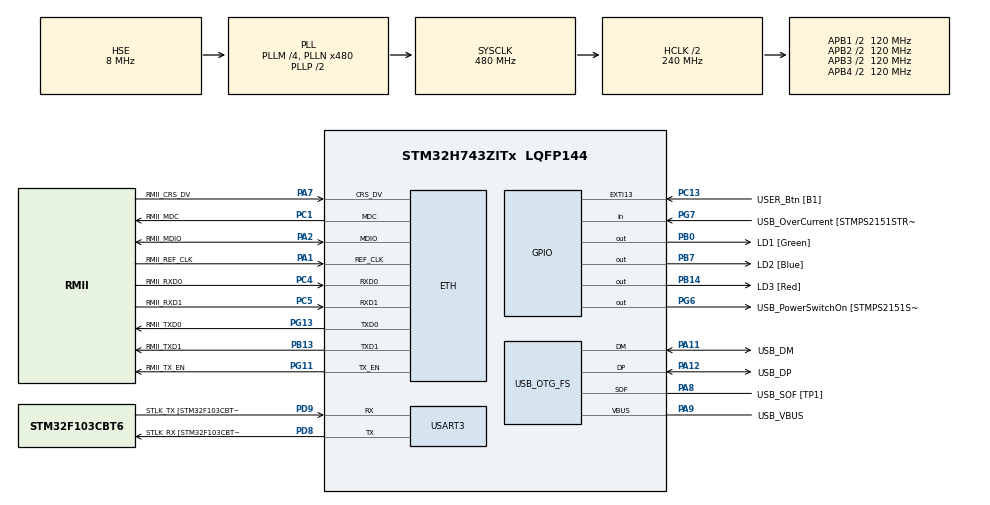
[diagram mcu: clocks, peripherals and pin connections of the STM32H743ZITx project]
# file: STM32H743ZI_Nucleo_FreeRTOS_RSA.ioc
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CORTEX_M7.AccessPermission-Cortex_Memory_Protection_Unit_Region0_Settings=MPU_REGION_FULL_ACCESS
CORTEX_M7.AccessPermission-Cortex_Memory_Protection_Unit_Region1_Settings=MPU_REGION_FULL_ACCESS
CORTEX_M7.BaseAddress-Cortex_Memory_Protection_Unit_Region0_Settings=0x30040000
CORTEX_M7.BaseAddress-Cortex_Memory_Protection_Unit_Region1_Settings=0x30040000
CORTEX_M7.CPU_DCache=Enabled
CORTEX_M7.CPU_ICache=Enabled
CORTEX_M7.DisableExec-Cortex_Memory_Protection_Unit_Region0_Settings=MPU_INSTRUCTION_ACCESS_DISABLE
CORTEX_M7.DisableExec-Cortex_Memory_Protection_Unit_Region1_Settings=MPU_INSTRUCTION_ACCESS_DISABLE
CORTEX_M7.Enable-Cortex_Memory_Protection_Unit_Region0_Settings=MPU_REGION_ENABLE
CORTEX_M7.Enable-Cortex_Memory_Protection_Unit_Region1_Settings=MPU_REGION_ENABLE
CORTEX_M7.IsBufferable-Cortex_Memory_Protection_Unit_Region1_Settings=MPU_ACCESS_BUFFERABLE
CORTEX_M7.IsShareable-Cortex_Memory_Protection_Unit_Region0_Settings=MPU_ACCESS_NOT_SHAREABLE
CORTEX_M7.IsShareable-Cortex_Memory_Protection_Unit_Region1_Settings=MPU_ACCESS_SHAREABLE
CORTEX_M7.MPU_Control=MPU_PRIVILEGED_DEFAULT
CORTEX_M7.Size-Cortex_Memory_Protection_Unit_Region0_Settings=MPU_REGION_SIZE_32KB
CORTEX_M7.Size-Cortex_Memory_Protection_Unit_Region1_Settings=MPU_REGION_SIZE_256B
CORTEX_M7.TypeExtField-Cortex_Memory_Protection_Unit_Region0_Settings=MPU_TEX_LEVEL1
CORTEX_M7.TypeExtField-Cortex_Memory_Protection_Unit_Region1_Settings=MPU_TEX_LEVEL0
Dma.Request0=USART3_RX
Dma.Request1=USART3_TX
Dma.USART3_RX.0.Direction=DMA_PERIPH_TO_MEMORY
Dma.USART3_RX.0.EventEnable=DISABLE
Dma.USART3_RX.0.FIFOMode=DMA_FIFOMODE_DISABLE
Dma.USART3_RX.0.Instance=DMA1_Stream0
Dma.USART3_RX.0.MemDataAlignment=DMA_MDATAALIGN_BYTE
Dma.USART3_RX.0.MemInc=DMA_MINC_ENABLE
Dma.USART3_RX.0.Mode=DMA_CIRCULAR
Dma.USART3_RX.0.PeriphDataAlignment=DMA_PDATAALIGN_BYTE
Dma.USART3_RX.0.PeriphInc=DMA_PINC_DISABLE
Dma.USART3_RX.0.Polarity=HAL_DMAMUX_REQ_GEN_RISING
Dma.USART3_RX.0.Priority=DMA_PRIORITY_LOW
Dma.USART3_RX.0.RequestNumber=1
Dma.USART3_RX.0.SignalID=NONE
Dma.USART3_RX.0.SyncEnable=DISABLE
Dma.USART3_RX.0.SyncPolarity=HAL_DMAMUX_SYNC_NO_EVENT
Dma.USART3_RX.0.SyncRequestNumber=1
Dma.USART3_RX.0.SyncSignalID=NONE
Dma.USART3_TX.1.Direction=DMA_MEMORY_TO_PERIPH
Dma.USART3_TX.1.EventEnable=DISABLE
Dma.USART3_TX.1.FIFOMode=DMA_FIFOMODE_DISABLE
Dma.USART3_TX.1.Instance=DMA1_Stream1
Dma.USART3_TX.1.MemDataAlignment=DMA_MDATAALIGN_BYTE
Dma.USART3_TX.1.MemInc=DMA_MINC_ENABLE
Dma.USART3_TX.1.Mode=DMA_NORMAL
Dma.USART3_TX.1.PeriphDataAlignment=DMA_PDATAALIGN_BYTE
Dma.USART3_TX.1.PeriphInc=DMA_PINC_DISABLE
Dma.USART3_TX.1.Polarity=HAL_DMAMUX_REQ_GEN_RISING
Dma.USART3_TX.1.Priority=DMA_PRIORITY_LOW
Dma.USART3_TX.1.RequestNumber=1
Dma.USART3_TX.1.SignalID=NONE
Dma.USART3_TX.1.SyncEnable=DISABLE
Dma.USART3_TX.1.SyncPolarity=HAL_DMAMUX_SYNC_NO_EVENT
Dma.USART3_TX.1.SyncRequestNumber=1
Dma.USART3_TX.1.SyncSignalID=NONE
ETH.MediaInterface=HAL_ETH_RMII_MODE
FREERTOS.Tasks01=defaultTask,24,512,StartDefaultTask,Default,NULL,Dynamic,NULL,NULL;myTask02,8,512,StartTask02,Default,NULL,Dynamic,NULL,NULL;myTask03,8,512,StartTask03,Default,NULL,Dynamic,NULL,NULL
FREERTOS.configUSE_NEWLIB_REENTRANT=1
Mcu.Family=STM32H7
Mcu.Name=STM32H743ZITx
Mcu.Package=LQFP144
NVIC.DMA1_Stream0_IRQn=true\:5\:0\:false\:false\:true\:true\:false\:true
NVIC.DMA1_Stream1_IRQn=true\:5\:0\:false\:false\:true\:true\:false\:true
NVIC.ETH_IRQn=true\:5\:0\:false\:false\:true\:true\:true\:true
NVIC.PriorityGroup=NVIC_PRIORITYGROUP_4
NVIC.TIM6_DAC_IRQn=true\:15\:0\:false\:false\:true\:false\:false\:true
NVIC.TimeBase=TIM6_DAC_IRQn
NVIC.TimeBaseIP=TIM6
NVIC.USART3_IRQn=true\:5\:0\:false\:false\:true\:true\:true\:true
PA1.GPIO_Label=RMII_REF_CLK
PA1.GPIO_Speed=GPIO_SPEED_FREQ_VERY_HIGH
PA1.Mode=RMII
PA1.Signal=ETH_REF_CLK
PA10.GPIO_Label=USB_ID
PA10.Signal=USB_OTG_FS_ID
PA11.GPIO_Label=USB_DM
PA11.Mode=Device_Only
PA11.Signal=USB_OTG_FS_DM
PA12.GPIO_Label=USB_DP
PA12.Mode=Device_Only
PA12.Signal=USB_OTG_FS_DP
PA2.GPIO_Label=RMII_MDIO
PA2.GPIO_Speed=GPIO_SPEED_FREQ_VERY_HIGH
PA2.Mode=RMII
PA2.Signal=ETH_MDIO
PA7.GPIO_Label=RMII_CRS_DV
PA7.GPIO_Speed=GPIO_SPEED_FREQ_VERY_HIGH
PA7.Mode=RMII
PA7.Signal=ETH_CRS_DV
PA8.GPIO_Label=USB_SOF [TP1]
PA8.Mode=Activate_SOF_FS
PA8.Signal=USB_OTG_FS_SOF
PA9.GPIO_Label=USB_VBUS
PA9.Mode=Activate_VBUS
PA9.Signal=USB_OTG_FS_VBUS
PB0.GPIO_Label=LD1 [Green]
PB0.Signal=GPIO_Output
PB13.GPIO_Label=RMII_TXD1
PB13.GPIO_Speed=GPIO_SPEED_FREQ_VERY_HIGH
PB13.Mode=RMII
PB13.Signal=ETH_TXD1
PB14.GPIO_Label=LD3 [Red]
PB14.Signal=GPIO_Output
PB7.GPIO_Label=LD2 [Blue]
PB7.Signal=GPIO_Output
PC1.GPIO_Label=RMII_MDC
PC1.GPIO_Speed=GPIO_SPEED_FREQ_VERY_HIGH
PC1.Mode=RMII
PC1.Signal=ETH_MDC
PC13.GPIO_Label=USER_Btn [B1]
PC13.Signal=GPXTI13
PC14-OSC32_IN\ (OSC32_IN).Mode=LSE-External-Oscillator
PC14-OSC32_IN\ (OSC32_IN).Signal=RCC_OSC32_IN
PC15-OSC32_OUT\ (OSC32_OUT).Mode=LSE-External-Oscillator
PC15-OSC32_OUT\ (OSC32_OUT).Signal=RCC_OSC32_OUT
PC4.GPIO_Label=RMII_RXD0
PC4.GPIO_Speed=GPIO_SPEED_FREQ_VERY_HIGH
PC4.Mode=RMII
PC4.Signal=ETH_RXD0
PC5.GPIO_Label=RMII_RXD1
PC5.GPIO_Speed=GPIO_SPEED_FREQ_VERY_HIGH
PC5.Mode=RMII
PC5.Signal=ETH_RXD1
PD8.GPIO_Label=STLK_RX [STM32F103CBT6_PA3]
PD8.Mode=Asynchronous
PD8.Signal=USART3_TX
PD9.GPIO_Label=STLK_TX [STM32F103CBT6_PA2]
PD9.Mode=Asynchronous
PD9.Signal=USART3_RX
PG11.GPIO_Label=RMII_TX_EN
PG11.GPIO_Speed=GPIO_SPEED_FREQ_VERY_HIGH
PG11.Mode=RMII
PG11.Signal=ETH_TX_EN
PG13.GPIO_Label=RMII_TXD0
PG13.GPIO_Speed=GPIO_SPEED_FREQ_VERY_HIGH
PG13.Mode=RMII
PG13.Signal=ETH_TXD0
PG6.GPIO_Label=USB_PowerSwitchOn [STMPS2151STR_EN]
PG6.Signal=GPIO_Output
PG7.GPIO_Label=USB_OverCurrent [STMPS2151STR_FAULT]
PG7.Signal=GPIO_Input
PH0-OSC_IN\ (PH0).GPIO_Label=MCO
PH0-OSC_IN\ (PH0).Mode=HSE-External-Clock-Source
PH0-OSC_IN\ (PH0).Signal=RCC_OSC_IN
PH1-OSC_OUT\ (PH1).Signal=RCC_OSC_OUT
ProjectManager.HeapSize=0x200
ProjectManager.StackSize=0x400
ProjectManager.TargetToolchain=STM32CubeIDE
RCC.48MHZClocksFreq_Value=24000000
RCC.ADCFreq_Value=120000000
RCC.AHBFreq_Value=216000000
RCC.APB1CLKDivider=RCC_HCLK_DIV4
RCC.APB1Freq_Value=120000000
RCC.APB1TimFreq_Value=108000000
RCC.APB2CLKDivider=RCC_HCLK_DIV2
RCC.APB2Freq_Value=120000000
RCC.APB2TimFreq_Value=216000000
RCC.APB3Freq_Value=120000000
RCC.APB4Freq_Value=120000000
RCC.CortexFreq_Value=480000000
RCC.D1PPRE=RCC_APB3_DIV2
RCC.D2PPRE1=RCC_APB1_DIV2
RCC.D2PPRE2=RCC_APB2_DIV2
RCC.D3PPRE=RCC_APB4_DIV2
RCC.DIVM1=4
RCC.DIVM2=4
RCC.DIVM3=4
RCC.DIVN1=480
RCC.DIVN2=120
RCC.DIVN3=120
RCC.DIVQ1=4
RCC.HCLKFreq_Value=240000000
RCC.HPRE=RCC_HCLK_DIV2
RCC.HSE_VALUE=8000000
RCC.HSI_VALUE=64000000
RCC.PLLM=25
RCC.PLLMUL=RCC_PLL_MUL9
RCC.PLLN=432
RCC.PLLQ=9
RCC.PLLSourceVirtual=RCC_PLLSOURCE_HSE
RCC.PRESCALERUSB=RCC_USBCLKSOURCE_PLL_DIV1_5
RCC.PWR_Regulator_Voltage_Scale=PWR_REGULATOR_VOLTAGE_SCALE0
RCC.SYSCLKFreq_VALUE=480000000
RCC.SYSCLKSource=RCC_SYSCLKSOURCE_PLLCLK
RCC.SYSCLKSourceVirtual=RCC_SYSCLKSOURCE_PLLCLK
RCC.USBCLockSelection=RCC_USBCLKSOURCE_HSI48
RCC.USBFreq_Value=48000000
RCC.VCOOutputFreq_Value=432000000
USART3.VirtualMode-Asynchronous=VM_ASYNC
USB_OTG_FS.VirtualMode=Device_Only
VP_FREERTOS_VS_CMSIS_V2.Mode=CMSIS_V2
VP_RNG_VS_RNG.Mode=RNG_Activate
VP_SYS_VS_tim6.Mode=TIM6
board=NUCLEO-H743ZI

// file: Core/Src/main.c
/* USER CODE BEGIN Header */
/**
  ******************************************************************************
  * @file           : main.c
  * @brief          : Main program body
  ******************************************************************************
  * @attention
  *
  * Copyright (c) 2022 STMicroelectronics.
  * All rights reserved.
  *
  * This software is licensed under terms that can be found in the LICENSE file
  * in the root directory of this software component.
  * If no LICENSE file comes with this software, it is provided AS-IS.
  *
  ******************************************************************************
  */
/* USER CODE END Header */
#include "main.h"
#include "cmsis_os.h"
#include "dma.h"
#include "eth.h"
#include "rng.h"
#include "usart.h"
#include "usb_otg.h"
#include "gpio.h"

/* USER CODE BEGIN Includes */
#include "usart_func.h"

/* USER CODE END Includes */

void SystemClock_Config(void);
static void MPU_Config(void);
void MX_FREERTOS_Init(void);

int main(void)
{

  /* MPU Configuration--------------------------------------------------------*/
  MPU_Config();

  /* Enable I-Cache---------------------------------------------------------*/
  SCB_EnableICache();

  /* Enable D-Cache---------------------------------------------------------*/
  SCB_EnableDCache();

  /* MCU Configuration--------------------------------------------------------*/

  /* Reset of all peripherals, Initializes the Flash interface and the Systick. */
  HAL_Init();

  /* Configure the system clock */
  SystemClock_Config();

  /* Initialize all configured peripherals */
  MX_GPIO_Init();
  MX_DMA_Init();
  MX_ETH_Init();
  MX_USART3_UART_Init();
  MX_USB_OTG_FS_PCD_Init();
  MX_RNG_Init();
  /* USER CODE BEGIN 2 */
  HAL_USART3_ENABLE_IT_IDLE_Receive_DMA();

  /* USER CODE END 2 */

  /* Init scheduler */
  osKernelInitialize();  /* Call init function for freertos objects (in freertos.c) */
  MX_FREERTOS_Init();
  /* Start scheduler */
  osKernelStart();

  /* We should never get here as control is now taken by the scheduler */
  /* Infinite loop */
  while (1)
  {

  }
}

void SystemClock_Config(void)
{
  RCC_OscInitTypeDef RCC_OscInitStruct = {0};
  RCC_ClkInitTypeDef RCC_ClkInitStruct = {0};

  /** Supply configuration update enable
  */
  HAL_PWREx_ConfigSupply(PWR_LDO_SUPPLY);
  /** Configure the main internal regulator output voltage
  */
  __HAL_PWR_VOLTAGESCALING_CONFIG(PWR_REGULATOR_VOLTAGE_SCALE0);

  while(!__HAL_PWR_GET_FLAG(PWR_FLAG_VOSRDY)) {}
  /** Initializes the RCC Oscillators according to the specified parameters
  * in the RCC_OscInitTypeDef structure.
  */
  RCC_OscInitStruct.OscillatorType = RCC_OSCILLATORTYPE_HSI48|RCC_OSCILLATORTYPE_HSE;
  RCC_OscInitStruct.HSEState = RCC_HSE_BYPASS;
  RCC_OscInitStruct.HSI48State = RCC_HSI48_ON;
  RCC_OscInitStruct.PLL.PLLState = RCC_PLL_ON;
  RCC_OscInitStruct.PLL.PLLSource = RCC_PLLSOURCE_HSE;
  RCC_OscInitStruct.PLL.PLLM = 4;
  RCC_OscInitStruct.PLL.PLLN = 480;
  RCC_OscInitStruct.PLL.PLLP = 2;
  RCC_OscInitStruct.PLL.PLLQ = 4;
  RCC_OscInitStruct.PLL.PLLR = 2;
  RCC_OscInitStruct.PLL.PLLRGE = RCC_PLL1VCIRANGE_1;
  RCC_OscInitStruct.PLL.PLLVCOSEL = RCC_PLL1VCOWIDE;
  RCC_OscInitStruct.PLL.PLLFRACN = 0;
  if (HAL_RCC_OscConfig(&RCC_OscInitStruct) != HAL_OK)
  {
    Error_Handler();
  }
  /** Initializes the CPU, AHB and APB buses clocks
  */
  RCC_ClkInitStruct.ClockType = RCC_CLOCKTYPE_HCLK|RCC_CLOCKTYPE_SYSCLK
                              |RCC_CLOCKTYPE_PCLK1|RCC_CLOCKTYPE_PCLK2
                              |RCC_CLOCKTYPE_D3PCLK1|RCC_CLOCKTYPE_D1PCLK1;
  RCC_ClkInitStruct.SYSCLKSource = RCC_SYSCLKSOURCE_PLLCLK;
  RCC_ClkInitStruct.SYSCLKDivider = RCC_SYSCLK_DIV1;
  RCC_ClkInitStruct.AHBCLKDivider = RCC_HCLK_DIV2;
  RCC_ClkInitStruct.APB3CLKDivider = RCC_APB3_DIV2;
  RCC_ClkInitStruct.APB1CLKDivider = RCC_APB1_DIV2;
  RCC_ClkInitStruct.APB2CLKDivider = RCC_APB2_DIV2;
  RCC_ClkInitStruct.APB4CLKDivider = RCC_APB4_DIV2;

  if (HAL_RCC_ClockConfig(&RCC_ClkInitStruct, FLASH_LATENCY_4) != HAL_OK)
  {
    Error_Handler();
  }
}

/* MPU Configuration */

void MPU_Config(void)
{
  MPU_Region_InitTypeDef MPU_InitStruct = {0};

  /* Disables the MPU */
  HAL_MPU_Disable();
  /** Initializes and configures the Region and the memory to be protected
  */
  MPU_InitStruct.Enable = MPU_REGION_ENABLE;
  MPU_InitStruct.Number = MPU_REGION_NUMBER0;
  MPU_InitStruct.BaseAddress = 0x30040000;
  MPU_InitStruct.Size = MPU_REGION_SIZE_32KB;
  MPU_InitStruct.SubRegionDisable = 0x0;
  MPU_InitStruct.TypeExtField = MPU_TEX_LEVEL1;
  MPU_InitStruct.AccessPermission = MPU_REGION_FULL_ACCESS;
  MPU_InitStruct.DisableExec = MPU_INSTRUCTION_ACCESS_DISABLE;
  MPU_InitStruct.IsShareable = MPU_ACCESS_NOT_SHAREABLE;
  MPU_InitStruct.IsCacheable = MPU_ACCESS_NOT_CACHEABLE;
  MPU_InitStruct.IsBufferable = MPU_ACCESS_NOT_BUFFERABLE;

  HAL_MPU_ConfigRegion(&MPU_InitStruct);
  /** Initializes and configures the Region and the memory to be protected
  */
  MPU_InitStruct.Number = MPU_REGION_NUMBER1;
  MPU_InitStruct.Size = MPU_REGION_SIZE_256B;
  MPU_InitStruct.TypeExtField = MPU_TEX_LEVEL0;
  MPU_InitStruct.IsShareable = MPU_ACCESS_SHAREABLE;
  MPU_InitStruct.IsBufferable = MPU_ACCESS_BUFFERABLE;

  HAL_MPU_ConfigRegion(&MPU_InitStruct);
  /* Enables the MPU */
  HAL_MPU_Enable(MPU_PRIVILEGED_DEFAULT);

}

void HAL_TIM_PeriodElapsedCallback(TIM_HandleTypeDef *htim)
{
  if (htim->Instance == TIM6) {
    HAL_IncTick();
  }
}

void Error_Handler(void)
{
  __disable_irq();
  while (1)
  {
  }
}

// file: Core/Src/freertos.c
/* USER CODE BEGIN Header */
/**
  ******************************************************************************
  * File Name          : freertos.c
  * Description        : Code for freertos applications
  ******************************************************************************
  * @attention
  *
  * Copyright (c) 2022 STMicroelectronics.
  * All rights reserved.
  *
  * This software is licensed under terms that can be found in the LICENSE file
  * in the root directory of this software component.
  * If no LICENSE file comes with this software, it is provided AS-IS.
  *
  ******************************************************************************
  */
/* USER CODE END Header */

#include "FreeRTOS.h"
#include "task.h"
#include "main.h"
#include "cmsis_os.h"

/* USER CODE BEGIN Includes */
#include "common_func.h"
#include "usart_func.h"
#include "prime_func.h"
#include "rsa_func.h"
#include <stdlib.h>

/* USER CODE END Includes */

/* Definitions for defaultTask */
osThreadId_t defaultTaskHandle;
const osThreadAttr_t defaultTask_attributes = {
  .name = "defaultTask",
  .stack_size = 512 * 4,
  .priority = (osPriority_t) osPriorityNormal,
};
/* Definitions for myTask02 */
osThreadId_t myTask02Handle;
const osThreadAttr_t myTask02_attributes = {
  .name = "myTask02",
  .stack_size = 512 * 4,
  .priority = (osPriority_t) osPriorityLow,
};
/* Definitions for myTask03 */
osThreadId_t myTask03Handle;
const osThreadAttr_t myTask03_attributes = {
  .name = "myTask03",
  .stack_size = 512 * 4,
  .priority = (osPriority_t) osPriorityLow,
};

void StartDefaultTask(void *argument);
void StartTask02(void *argument);
void StartTask03(void *argument);

void MX_FREERTOS_Init(void); /* (MISRA C 2004 rule 8.1) */

void MX_FREERTOS_Init(void) {

  /* Create the thread(s) */
  /* creation of defaultTask */
  defaultTaskHandle = osThreadNew(StartDefaultTask, NULL, &defaultTask_attributes);

  /* creation of myTask02 */
  myTask02Handle = osThreadNew(StartTask02, NULL, &myTask02_attributes);

  /* creation of myTask03 */
  myTask03Handle = osThreadNew(StartTask03, NULL, &myTask03_attributes);

}

void StartDefaultTask(void *argument)
{
  /* USER CODE BEGIN StartDefaultTask */
    /* Infinite loop */
    for (;;) {
        HAL_GPIO_TogglePin(LED1_GPIO_Port, LED1_Pin);
        osDelay(1000);
    }
  /* USER CODE END StartDefaultTask */
}

void StartTask02(void *argument)
{
  /* USER CODE BEGIN StartTask02 */
    HAL_GPIO_TogglePin(LED3_GPIO_Port, LED3_Pin);
    rsa_init_new();
    prime_random();
    rsa_init();
    rsa_print_key();
    HAL_GPIO_TogglePin(LED3_GPIO_Port, LED3_Pin);
    char *str = calloc(512, sizeof(char));
    /* Infinite loop */
    for (;;) {
        usart3_scanf("%[^\n]", str);
        HAL_GPIO_TogglePin(LED2_GPIO_Port, LED2_Pin);
        rsa_usart(str);
        HAL_GPIO_TogglePin(LED2_GPIO_Port, LED2_Pin);
        osDelay(1);
    }
  /* USER CODE END StartTask02 */
}

void StartTask03(void *argument)
{
  for(;;)
  {
    osDelay(1);
  }
}
